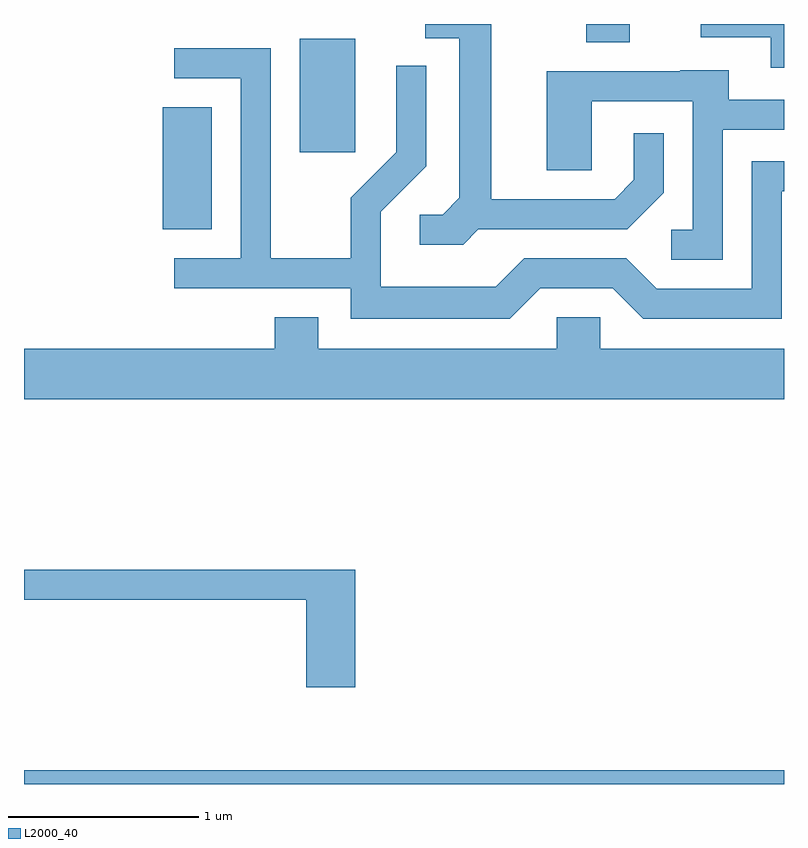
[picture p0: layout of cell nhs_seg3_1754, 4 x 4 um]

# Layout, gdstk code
import gdstk
lib = gdstk.Library(unit=1e-6, precision=1e-09)
def R(c, l, rs):  # rectangles x0, y0, x1, y1
    for r in rs: c.add(gdstk.rectangle(r[:2], r[2:], *l))
def P(c, l, *ps):  # polygons
    for p in ps: c.add(gdstk.Polygon(p, *l))
L2000_40 = (2000, 40)

nhs_seg3_1754 = lib.new_cell('nhs_seg3_1754')
R(nhs_seg3_1754, L2000_40, [(235.611,1223.892,239.611,1223.964), (236.341,1226.811,236.599,1227.454), (237.061,1227.216,237.354,1227.814), (238.571,1227.796,238.799,1227.892)])
P(nhs_seg3_1754, L2000_40, [(239.611,1227.892),(239.173,1227.892),(239.173,1227.821),(239.541,1227.821),(239.541,1227.661),(239.611,1227.661)],
  [(238.002,1226.811),(238.787,1226.811),(238.979,1227.004),(238.979,1227.318),(238.821,1227.318),(238.821,1227.072),(238.719,1226.969),(238.069,1226.969),(238.069,1227.892),(237.723,1227.892),(237.723,1227.816),(237.901,1227.816),(237.901,1226.977),(237.814,1226.889),(237.693,1226.889),(237.693,1226.731),(237.922,1226.731)],
  [(238.327,1226.501),(238.709,1226.501),(238.869,1226.341),(239.599,1226.341),(239.599,1227.011),(239.611,1227.011),(239.611,1227.169),(239.441,1227.169),(239.441,1226.499),(238.942,1226.499),(238.782,1226.659),(238.244,1226.659),(238.094,1226.509),(237.489,1226.509),(237.489,1226.904),(237.729,1227.144),(237.729,1227.673),(237.571,1227.673),(237.571,1227.217),(237.331,1226.977),(237.331,1226.659),(236.909,1226.659),(236.909,1227.764),(236.403,1227.764),(236.403,1227.606),(236.751,1227.606),(236.751,1226.659),(236.403,1226.659),(236.403,1226.501),(237.331,1226.501),(237.331,1226.341),(238.167,1226.341)],
  [(239.289,1227.336),(239.611,1227.336),(239.611,1227.494),(239.319,1227.494),(239.319,1227.649),(239.065,1227.649),(239.065,1227.644),(238.361,1227.644),(238.361,1227.121),(238.599,1227.121),(238.599,1227.486),(239.131,1227.486),(239.131,1226.809),(239.018,1226.809),(239.018,1226.651),(239.289,1226.651)],
  [(239.611,1226.184),(238.644,1226.184),(238.644,1226.349),(238.416,1226.349),(238.416,1226.184),(237.159,1226.184),(237.159,1226.349),(236.931,1226.349),(236.931,1226.184),(235.611,1226.184),(235.611,1225.916),(239.611,1225.916)],
  [(237.354,1225.019),(235.611,1225.019),(235.611,1224.861),(237.096,1224.861),(237.096,1224.401),(237.354,1224.401)])

lib.write_gds('nhs_seg3_1754.gds')
